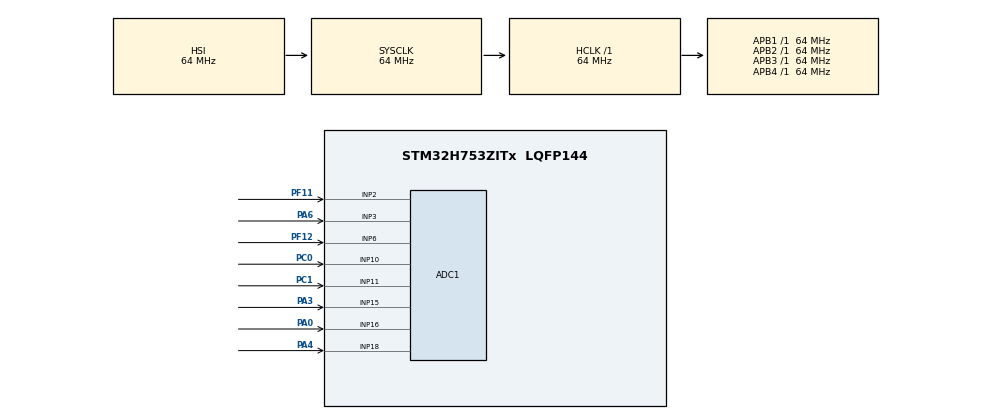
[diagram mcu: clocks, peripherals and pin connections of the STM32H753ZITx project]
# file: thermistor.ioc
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ADC1.Channel-0\#ChannelRegularConversion=ADC_CHANNEL_16
ADC1.Channel-1\#ChannelRegularConversion=ADC_CHANNEL_15
ADC1.Channel-2\#ChannelRegularConversion=ADC_CHANNEL_18
ADC1.Channel-3\#ChannelRegularConversion=ADC_CHANNEL_3
ADC1.Channel-4\#ChannelRegularConversion=ADC_CHANNEL_10
ADC1.Channel-5\#ChannelRegularConversion=ADC_CHANNEL_11
ADC1.Channel-6\#ChannelRegularConversion=ADC_CHANNEL_2
ADC1.Channel-7\#ChannelRegularConversion=ADC_CHANNEL_6
ADC1.ContinuousConvMode=ENABLE
ADC1.ConversionDataManagement=ADC_CONVERSIONDATA_DMA_CIRCULAR
ADC1.EOCSelection=ADC_EOC_SEQ_CONV
ADC1.NbrOfConversion=8
ADC1.NbrOfConversionFlag=1
ADC1.OffsetNumber-0\#ChannelRegularConversion=ADC_OFFSET_NONE
ADC1.OffsetNumber-1\#ChannelRegularConversion=ADC_OFFSET_NONE
ADC1.OffsetNumber-2\#ChannelRegularConversion=ADC_OFFSET_NONE
ADC1.OffsetNumber-3\#ChannelRegularConversion=ADC_OFFSET_NONE
ADC1.OffsetNumber-4\#ChannelRegularConversion=ADC_OFFSET_NONE
ADC1.OffsetNumber-5\#ChannelRegularConversion=ADC_OFFSET_NONE
ADC1.OffsetNumber-6\#ChannelRegularConversion=ADC_OFFSET_NONE
ADC1.OffsetNumber-7\#ChannelRegularConversion=ADC_OFFSET_NONE
ADC1.OffsetSignedSaturation-0\#ChannelRegularConversion=DISABLE
ADC1.OffsetSignedSaturation-1\#ChannelRegularConversion=DISABLE
ADC1.OffsetSignedSaturation-2\#ChannelRegularConversion=DISABLE
ADC1.OffsetSignedSaturation-3\#ChannelRegularConversion=DISABLE
ADC1.OffsetSignedSaturation-4\#ChannelRegularConversion=DISABLE
ADC1.OffsetSignedSaturation-5\#ChannelRegularConversion=DISABLE
ADC1.OffsetSignedSaturation-6\#ChannelRegularConversion=DISABLE
ADC1.OffsetSignedSaturation-7\#ChannelRegularConversion=DISABLE
ADC1.Rank-0\#ChannelRegularConversion=1
ADC1.Rank-1\#ChannelRegularConversion=2
ADC1.Rank-2\#ChannelRegularConversion=3
ADC1.Rank-3\#ChannelRegularConversion=4
ADC1.Rank-4\#ChannelRegularConversion=5
ADC1.Rank-5\#ChannelRegularConversion=6
ADC1.Rank-6\#ChannelRegularConversion=7
ADC1.Rank-7\#ChannelRegularConversion=8
ADC1.SamplingTime-0\#ChannelRegularConversion=ADC_SAMPLETIME_810CYCLES_5
ADC1.SamplingTime-1\#ChannelRegularConversion=ADC_SAMPLETIME_810CYCLES_5
ADC1.SamplingTime-2\#ChannelRegularConversion=ADC_SAMPLETIME_810CYCLES_5
ADC1.SamplingTime-3\#ChannelRegularConversion=ADC_SAMPLETIME_810CYCLES_5
ADC1.SamplingTime-4\#ChannelRegularConversion=ADC_SAMPLETIME_810CYCLES_5
ADC1.SamplingTime-5\#ChannelRegularConversion=ADC_SAMPLETIME_810CYCLES_5
ADC1.SamplingTime-6\#ChannelRegularConversion=ADC_SAMPLETIME_810CYCLES_5
ADC1.SamplingTime-7\#ChannelRegularConversion=ADC_SAMPLETIME_810CYCLES_5
ADC1.master=1
CORTEX_M7.CPU_DCache=Disabled
CORTEX_M7.CPU_ICache=Disabled
CORTEX_M7.MPU_Control=MPU_PRIVILEGED_DEFAULT
CORTEX_M7.default_mode_Activation=1
Dma.ADC1.0.Direction=DMA_PERIPH_TO_MEMORY
Dma.ADC1.0.EventEnable=DISABLE
Dma.ADC1.0.FIFOMode=DMA_FIFOMODE_DISABLE
Dma.ADC1.0.Instance=DMA1_Stream0
Dma.ADC1.0.MemDataAlignment=DMA_MDATAALIGN_HALFWORD
Dma.ADC1.0.MemInc=DMA_MINC_ENABLE
Dma.ADC1.0.Mode=DMA_CIRCULAR
Dma.ADC1.0.PeriphDataAlignment=DMA_PDATAALIGN_HALFWORD
Dma.ADC1.0.PeriphInc=DMA_PINC_DISABLE
Dma.ADC1.0.Polarity=HAL_DMAMUX_REQ_GEN_RISING
Dma.ADC1.0.Priority=DMA_PRIORITY_LOW
Dma.ADC1.0.RequestNumber=1
Dma.ADC1.0.SignalID=NONE
Dma.ADC1.0.SyncEnable=DISABLE
Dma.ADC1.0.SyncPolarity=HAL_DMAMUX_SYNC_NO_EVENT
Dma.ADC1.0.SyncRequestNumber=1
Dma.ADC1.0.SyncSignalID=NONE
Dma.Request0=ADC1
Mcu.Family=STM32H7
Mcu.Name=STM32H753ZITx
Mcu.Package=LQFP144
NUCLEO-H753ZI.BUTTON=1
NUCLEO-H753ZI.LD1=true
NUCLEO-H753ZI.LD2=true
NUCLEO-H753ZI.LD3=true
NUCLEO-H753ZI.VCP=true
NVIC.ADC_IRQn=true\:1\:0\:true\:false\:true\:true\:true\:true
NVIC.DMA1_Stream0_IRQn=true\:0\:0\:false\:false\:true\:false\:true\:true
NVIC.EXTI15_10_IRQn=true\:0\:0\:false\:false\:true\:false\:true\:true
NVIC.PriorityGroup=NVIC_PRIORITYGROUP_4
PA0.Mode=IN16-Single-Ended
PA0.Signal=ADC1_INP16
PA3.Signal=ADCx_INP15
PA4.Signal=ADCx_INP18
PA6.Signal=ADCx_INP3
PC0.Signal=ADCx_INP10
PC1.Signal=ADCx_INP11
PC14-OSC32_IN\ (OSC32_IN).Signal=RCC_OSC32_IN
PC15-OSC32_OUT\ (OSC32_OUT).Signal=RCC_OSC32_OUT
PD8.Signal=USART3_TX
PD9.Signal=USART3_RX
PF11.Mode=IN2-Single-Ended
PF11.Signal=ADC1_INP2
PF12.Mode=IN6-Single-Ended
PF12.Signal=ADC1_INP6
PH0-OSC_IN\ (PH0).Signal=RCC_OSC_IN
PH1-OSC_OUT\ (PH1).Signal=RCC_OSC_OUT
ProjectManager.HeapSize=0x200
ProjectManager.StackSize=0x400
ProjectManager.TargetToolchain=STM32CubeIDE
RCC.ADCFreq_Value=75000000
RCC.APB1Freq_Value=64000000
RCC.APB2Freq_Value=64000000
RCC.APB3Freq_Value=64000000
RCC.APB4Freq_Value=64000000
RCC.CortexFreq_Value=64000000
RCC.DIVM1=1
RCC.DIVM2=4
RCC.DIVN1=24
RCC.DIVN2=9
RCC.DIVQ1=4
RCC.HCLKFreq_Value=64000000
RCC.HSE_VALUE=8000000
RCC.PLL2FRACN=3072
RCC.PLLFRACN=0
RCC.PWR_Regulator_Voltage_Scale=PWR_REGULATOR_VOLTAGE_SCALE2
RCC.SYSCLKFreq_VALUE=64000000
RCC.USBFreq_Value=384000000
SH.ADCx_INP10.0=ADC1_INP10,IN10-Single-Ended
SH.ADCx_INP11.0=ADC1_INP11,IN11-Single-Ended
SH.ADCx_INP15.0=ADC1_INP15,IN15-Single-Ended
SH.ADCx_INP18.0=ADC1_INP18,IN18-Single-Ended
SH.ADCx_INP3.0=ADC1_INP3,IN3-Single-Ended
VP_MEMORYMAP_VS_MEMORYMAP.Mode=CurAppReg
VP_NUCLEO-H753ZI_VS_BSP_COMMON.Mode=COMMON
board=NUCLEO-H753ZI

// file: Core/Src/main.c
/* USER CODE BEGIN Header */
/**
  ******************************************************************************
  * @file           : main.c
  * @brief          : Main program body
  ******************************************************************************
  * @attention
  *
  * Copyright (c) 2026 STMicroelectronics.
  * All rights reserved.
  *
  * This software is licensed under terms that can be found in the LICENSE file
  * in the root directory of this software component.
  * If no LICENSE file comes with this software, it is provided AS-IS.
  *
  ******************************************************************************
  */
/* USER CODE END Header */
#include "main.h"

/* USER CODE BEGIN Includes */
#include <stdio.h>
#include <stdlib.h>
#include "thermistor.h"
/* USER CODE END Includes */

/* USER CODE BEGIN PD */
#define NUM_THERM 8
/* USER CODE END PD */

COM_InitTypeDef BspCOMInit;
ADC_HandleTypeDef hadc1;
DMA_HandleTypeDef hdma_adc1;

/* USER CODE BEGIN PV */
__attribute__((section(".dma_buffer"), aligned(32)))
uint16_t adcBuf[16];   /* 8 used, padded to 32 bytes */
/* USER CODE END PV */

void SystemClock_Config(void);
static void MPU_Config(void);
static void MX_GPIO_Init(void);
static void MX_DMA_Init(void);
static void MX_ADC1_Init(void);

int main(void)
{

  /* MPU Configuration--------------------------------------------------------*/
  MPU_Config();

  /* MCU Configuration--------------------------------------------------------*/

  /* Reset of all peripherals, Initializes the Flash interface and the Systick. */
  HAL_Init();

  /* Configure the system clock */
  SystemClock_Config();

  /* Initialize all configured peripherals */
  MX_GPIO_Init();
  MX_DMA_Init();
  MX_ADC1_Init();
  /* USER CODE BEGIN 2 */
  if (HAL_ADCEx_Calibration_Start(&hadc1, ADC_CALIB_OFFSET, ADC_SINGLE_ENDED) != HAL_OK)
    {
      Error_Handler();
    }
    if (HAL_ADC_Start_DMA(&hadc1, (uint32_t*)adcBuf, NUM_THERM) != HAL_OK)
    {
      Error_Handler();
    }
  /* USER CODE END 2 */

  /* Initialize leds */
  BSP_LED_Init(LED_GREEN);
  BSP_LED_Init(LED_YELLOW);
  BSP_LED_Init(LED_RED);

  /* Initialize USER push-button, will be used to trigger an interrupt each time it's pressed.*/
  BSP_PB_Init(BUTTON_USER, BUTTON_MODE_EXTI);

  /* Initialize COM1 port (115200, 8 bits (7-bit data + 1 stop bit), no parity */
  BspCOMInit.BaudRate   = 115200;
  BspCOMInit.WordLength = COM_WORDLENGTH_8B;
  BspCOMInit.StopBits   = COM_STOPBITS_1;
  BspCOMInit.Parity     = COM_PARITY_NONE;
  BspCOMInit.HwFlowCtl  = COM_HWCONTROL_NONE;
  if (BSP_COM_Init(COM1, &BspCOMInit) != BSP_ERROR_NONE)
  {
    Error_Handler();
  }

  /* Infinite loop */
  /* USER CODE BEGIN WHILE */
  BSP_COM_SelectLogPort(COM1);
  printf("8 thermistor read started\r\n");
  while (1)
  {

    /* USER CODE END WHILE */

    /* USER CODE BEGIN 3 */
	  SCB_InvalidateDCache_by_Addr((uint32_t*)adcBuf, sizeof(adcBuf));

	  for (int i = 0; i < NUM_THERM; i++)
	  {
		float   tempC = ntc_convertToC(adcBuf[i]);
		int32_t t100  = (int32_t)(tempC * 100.0f);
		printf("T%d:%s%ld.%02ld  ", i + 1,
			   (t100 < 0) ? "-" : "",
			   (long)abs(t100 / 100),
			   (long)abs(t100 % 100));
	  }
	  printf("\r\n");

	  BSP_LED_Toggle(LED_GREEN);
	  HAL_Delay(200);
  }
  /* USER CODE END 3 */
}

void SystemClock_Config(void)
{
  RCC_OscInitTypeDef RCC_OscInitStruct = {0};
  RCC_ClkInitTypeDef RCC_ClkInitStruct = {0};

  /** Supply configuration update enable
  */
  HAL_PWREx_ConfigSupply(PWR_LDO_SUPPLY);

  /** Configure the main internal regulator output voltage
  */
  __HAL_PWR_VOLTAGESCALING_CONFIG(PWR_REGULATOR_VOLTAGE_SCALE2);

  while(!__HAL_PWR_GET_FLAG(PWR_FLAG_VOSRDY)) {}

  /** Macro to configure the PLL clock source
  */
  __HAL_RCC_PLL_PLLSOURCE_CONFIG(RCC_PLLSOURCE_HSI);

  /** Initializes the RCC Oscillators according to the specified parameters
  * in the RCC_OscInitTypeDef structure.
  */
  RCC_OscInitStruct.OscillatorType = RCC_OSCILLATORTYPE_HSI;
  RCC_OscInitStruct.HSIState = RCC_HSI_DIV1;
  RCC_OscInitStruct.HSICalibrationValue = RCC_HSICALIBRATION_DEFAULT;
  RCC_OscInitStruct.PLL.PLLState = RCC_PLL_NONE;
  if (HAL_RCC_OscConfig(&RCC_OscInitStruct) != HAL_OK)
  {
    Error_Handler();
  }

  /** Initializes the CPU, AHB and APB buses clocks
  */
  RCC_ClkInitStruct.ClockType = RCC_CLOCKTYPE_HCLK|RCC_CLOCKTYPE_SYSCLK
                              |RCC_CLOCKTYPE_PCLK1|RCC_CLOCKTYPE_PCLK2
                              |RCC_CLOCKTYPE_D3PCLK1|RCC_CLOCKTYPE_D1PCLK1;
  RCC_ClkInitStruct.SYSCLKSource = RCC_SYSCLKSOURCE_HSI;
  RCC_ClkInitStruct.SYSCLKDivider = RCC_SYSCLK_DIV1;
  RCC_ClkInitStruct.AHBCLKDivider = RCC_HCLK_DIV1;
  RCC_ClkInitStruct.APB3CLKDivider = RCC_APB3_DIV1;
  RCC_ClkInitStruct.APB1CLKDivider = RCC_APB1_DIV1;
  RCC_ClkInitStruct.APB2CLKDivider = RCC_APB2_DIV1;
  RCC_ClkInitStruct.APB4CLKDivider = RCC_APB4_DIV1;

  if (HAL_RCC_ClockConfig(&RCC_ClkInitStruct, FLASH_LATENCY_1) != HAL_OK)
  {
    Error_Handler();
  }
}

static void MX_ADC1_Init(void)
{

  ADC_MultiModeTypeDef multimode = {0};
  ADC_ChannelConfTypeDef sConfig = {0};

  /** Common config
  */
  hadc1.Instance = ADC1;
  hadc1.Init.ClockPrescaler = ADC_CLOCK_ASYNC_DIV2;
  hadc1.Init.Resolution = ADC_RESOLUTION_16B;
  hadc1.Init.ScanConvMode = ADC_SCAN_ENABLE;
  hadc1.Init.EOCSelection = ADC_EOC_SEQ_CONV;
  hadc1.Init.LowPowerAutoWait = DISABLE;
  hadc1.Init.ContinuousConvMode = ENABLE;
  hadc1.Init.NbrOfConversion = 8;
  hadc1.Init.DiscontinuousConvMode = DISABLE;
  hadc1.Init.ExternalTrigConv = ADC_SOFTWARE_START;
  hadc1.Init.ExternalTrigConvEdge = ADC_EXTERNALTRIGCONVEDGE_NONE;
  hadc1.Init.ConversionDataManagement = ADC_CONVERSIONDATA_DMA_CIRCULAR;
  hadc1.Init.Overrun = ADC_OVR_DATA_PRESERVED;
  hadc1.Init.LeftBitShift = ADC_LEFTBITSHIFT_NONE;
  hadc1.Init.OversamplingMode = DISABLE;
  hadc1.Init.Oversampling.Ratio = 1;
  if (HAL_ADC_Init(&hadc1) != HAL_OK)
  {
    Error_Handler();
  }

  /** Configure the ADC multi-mode
  */
  multimode.Mode = ADC_MODE_INDEPENDENT;
  if (HAL_ADCEx_MultiModeConfigChannel(&hadc1, &multimode) != HAL_OK)
  {
    Error_Handler();
  }

  /** Configure Regular Channel
  */
  sConfig.Channel = ADC_CHANNEL_16;
  sConfig.Rank = ADC_REGULAR_RANK_1;
  sConfig.SamplingTime = ADC_SAMPLETIME_810CYCLES_5;
  sConfig.SingleDiff = ADC_SINGLE_ENDED;
  sConfig.OffsetNumber = ADC_OFFSET_NONE;
  sConfig.Offset = 0;
  sConfig.OffsetSignedSaturation = DISABLE;
  if (HAL_ADC_ConfigChannel(&hadc1, &sConfig) != HAL_OK)
  {
    Error_Handler();
  }

  /** Configure Regular Channel
  */
  sConfig.Channel = ADC_CHANNEL_15;
  sConfig.Rank = ADC_REGULAR_RANK_2;
  if (HAL_ADC_ConfigChannel(&hadc1, &sConfig) != HAL_OK)
  {
    Error_Handler();
  }

  /** Configure Regular Channel
  */
  sConfig.Channel = ADC_CHANNEL_18;
  sConfig.Rank = ADC_REGULAR_RANK_3;
  if (HAL_ADC_ConfigChannel(&hadc1, &sConfig) != HAL_OK)
  {
    Error_Handler();
  }

  /** Configure Regular Channel
  */
  sConfig.Channel = ADC_CHANNEL_3;
  sConfig.Rank = ADC_REGULAR_RANK_4;
  if (HAL_ADC_ConfigChannel(&hadc1, &sConfig) != HAL_OK)
  {
    Error_Handler();
  }

  /** Configure Regular Channel
  */
  sConfig.Channel = ADC_CHANNEL_10;
  sConfig.Rank = ADC_REGULAR_RANK_5;
  if (HAL_ADC_ConfigChannel(&hadc1, &sConfig) != HAL_OK)
  {
    Error_Handler();
  }

  /** Configure Regular Channel
  */
  sConfig.Channel = ADC_CHANNEL_11;
  sConfig.Rank = ADC_REGULAR_RANK_6;
  if (HAL_ADC_ConfigChannel(&hadc1, &sConfig) != HAL_OK)
  {
    Error_Handler();
  }

  /** Configure Regular Channel
  */
  sConfig.Channel = ADC_CHANNEL_2;
  sConfig.Rank = ADC_REGULAR_RANK_7;
  if (HAL_ADC_ConfigChannel(&hadc1, &sConfig) != HAL_OK)
  {
    Error_Handler();
  }

  /** Configure Regular Channel
  */
  sConfig.Channel = ADC_CHANNEL_6;
  sConfig.Rank = ADC_REGULAR_RANK_8;
  if (HAL_ADC_ConfigChannel(&hadc1, &sConfig) != HAL_OK)
  {
    Error_Handler();
  }

}

static void MX_DMA_Init(void)
{

  /* DMA controller clock enable */
  __HAL_RCC_DMA1_CLK_ENABLE();

  /* DMA interrupt init */
  /* DMA1_Stream0_IRQn interrupt configuration */
  HAL_NVIC_SetPriority(DMA1_Stream0_IRQn, 0, 0);
  HAL_NVIC_EnableIRQ(DMA1_Stream0_IRQn);

}

static void MX_GPIO_Init(void)
{

  /* GPIO Ports Clock Enable */
  __HAL_RCC_GPIOC_CLK_ENABLE();
  __HAL_RCC_GPIOH_CLK_ENABLE();
  __HAL_RCC_GPIOA_CLK_ENABLE();
  __HAL_RCC_GPIOF_CLK_ENABLE();

}

 /* MPU Configuration */

void MPU_Config(void)
{
  MPU_Region_InitTypeDef MPU_InitStruct = {0};

  /* Disables the MPU */
  HAL_MPU_Disable();

  /** Initializes and configures the Region and the memory to be protected
  */
  MPU_InitStruct.Enable = MPU_REGION_ENABLE;
  MPU_InitStruct.Number = MPU_REGION_NUMBER0;
  MPU_InitStruct.BaseAddress = 0x0;
  MPU_InitStruct.Size = MPU_REGION_SIZE_4GB;
  MPU_InitStruct.SubRegionDisable = 0x87;
  MPU_InitStruct.TypeExtField = MPU_TEX_LEVEL0;
  MPU_InitStruct.AccessPermission = MPU_REGION_NO_ACCESS;
  MPU_InitStruct.DisableExec = MPU_INSTRUCTION_ACCESS_DISABLE;
  MPU_InitStruct.IsShareable = MPU_ACCESS_SHAREABLE;
  MPU_InitStruct.IsCacheable = MPU_ACCESS_NOT_CACHEABLE;
  MPU_InitStruct.IsBufferable = MPU_ACCESS_NOT_BUFFERABLE;

  HAL_MPU_ConfigRegion(&MPU_InitStruct);
  /* Enables the MPU */
  HAL_MPU_Enable(MPU_PRIVILEGED_DEFAULT);

}

void Error_Handler(void)
{
  __disable_irq();
  while (1)
  {
  }
}
